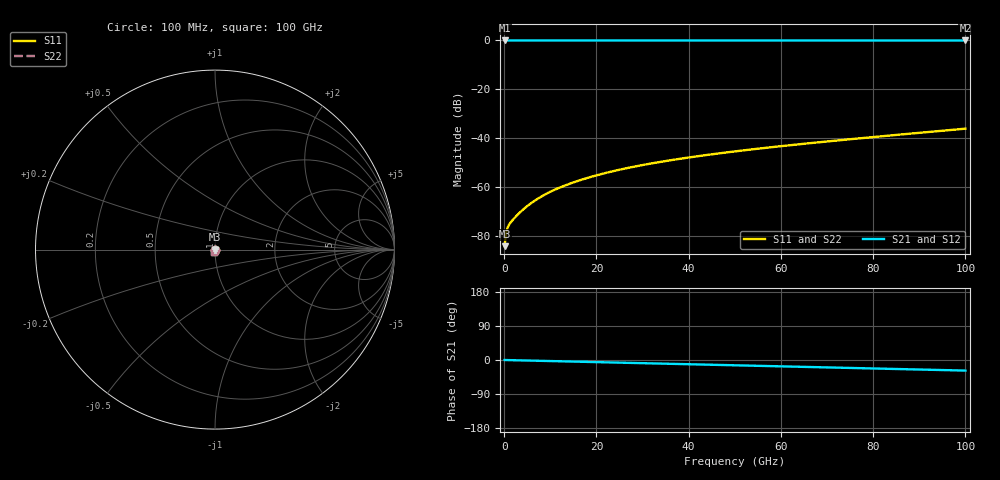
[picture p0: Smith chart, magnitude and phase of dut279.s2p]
! Touchstone file exported from HFSS 2026.1.0
!  File:  C:/ffzhzh/LocalFiles/Ansys_Project_Files/temp_train_TSV_279_1783508807_31944.aedt
!  Generated:  07:07:55 PM Jul  8, 2026
!  Design:  TSV
!  Project:  temp_train_TSV_279_1783508807_31944
! Variables:
!  h_bsmrdl = 2um
!  h_ox = 20um
!  h_rdl = 5um
!  h_sub = 50.61um
!  h_tmrdl = 5um
!  h_tsv = 50.61um
!  h_via = 3um
!  l_bsmrdl = 300um
!  l_sub = 427.08um
!  l_tmrdl = 200um
!  m_sub = 200um
!  pitch = 52.51um
!  r_tsv = 13.54um
!  s_tmrdl = 10um
!  w_bsmrdl = 18um
!  w_sub = 500um
!  w_tmrdl = 12um
!  x_tsv_center1 = 206um
!  x_tsv_center2 = 524um
!  x_tsv_center3 = 736um
!  x_tsv_center4 = 1054um
!  x_tsv_center5 = 1266um
!  x_tsv_center6 = 1584um
# GHz S MA R 50.000000
! Terminal data exported
! Port[1] = TSV1_1_T1
! Port[2] = TSV1_1_T2
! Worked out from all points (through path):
!   1000 points, 100 MHz to 100 GHz, reference 50 ohm
!   highest |S21| = 0.00 dB at 100 MHz (marker M1); lowest = 0.0 dB at 100 GHz (marker M2)
!   group delay of S21, straight-line fit = 775 fs
!   lowest |S11| = -84.0 dB at 100 MHz (marker M3), VSWR 1.00, Z = 50 + j0.00193 ohm
!   |S11| at or under -10 dB: start of sweep to end of sweep
!   |S22| runs from -84.0 to -36.0 dB; largest |S21 - S12| = 2.8e-15
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0.1  6.341e-05 17.7  0.9999 -0.0  0.9999 -0.0  6.341e-05 17.7
! Gamma 0 0 0 0
! Port Impedance 50 0 50 0
0.5  0.0001251 27.3  0.9999 -0.1  0.9999 -0.1  0.0001251 27.3
1.1  0.0001757 13.5  0.9998 -0.3  0.9998 -0.3  0.0001757 13.5
1.4  0.0001928 8.2  0.9998 -0.4  0.9998 -0.4  0.0001928 8.2
1.7  0.0002089 3.5  0.9998 -0.5  0.9998 -0.5  0.0002089 3.5
2.6  0.0002592 -8.5  0.9997 -0.7  0.9997 -0.7  0.0002592 -8.5
3.6  0.0003211 -19.6  0.9997 -1.0  0.9997 -1.0  0.0003211 -19.6
4.7  0.0003953 -29.4  0.9997 -1.3  0.9997 -1.3  0.0003953 -29.4
5.8  0.0004745 -37.1  0.9996 -1.6  0.9996 -1.6  0.0004744 -37.1
7.9  0.0006383 -47.4  0.9995 -2.2  0.9995 -2.2  0.0006382 -47.4
10.3  0.0008445 -54.8  0.9995 -2.9  0.9995 -2.9  0.0008444 -54.8
13.4  0.001116 -61.2  0.9994 -3.7  0.9994 -3.7  0.001116 -61.2
16.8  0.001441 -66.6  0.9993 -4.7  0.9993 -4.7  0.001441 -66.6
20.3  0.001798 -71.2  0.9993 -5.6  0.9993 -5.6  0.001798 -71.2
24.2  0.002215 -75.5  0.9992 -6.7  0.9992 -6.7  0.002215 -75.5
28.5  0.002696 -79.3  0.9991 -7.9  0.9991 -7.9  0.002696 -79.3
33.4  0.003271 -83.0  0.999 -9.3  0.999 -9.3  0.00327 -83.0
41.1  0.004232 -87.6  0.9989 -11.4  0.9989 -11.4  0.004231 -87.6
50.1  0.005458 -91.9  0.9988 -13.9  0.9988 -13.9  0.005457 -91.9
66.7  0.008091 -98.5  0.9986 -18.6  0.9986 -18.6  0.00809 -98.5
83.4  0.01144 -105.1  0.9984 -23.2  0.9984 -23.2  0.01144 -105.1
100  0.01585 -113.0  0.998 -27.9  0.998 -27.9  0.01585 -113.0
